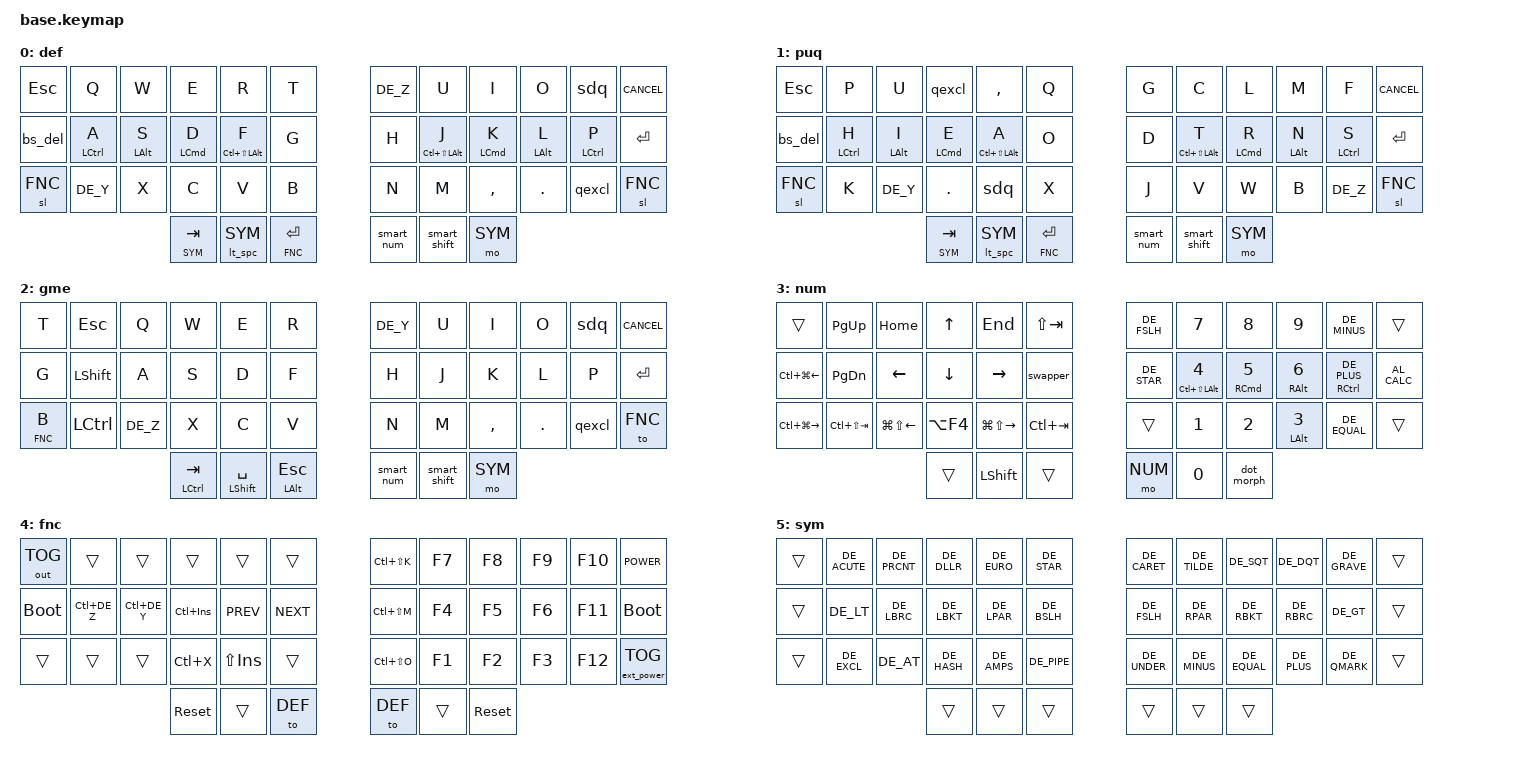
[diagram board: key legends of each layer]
#include <behaviors.dtsi>
#include <dt-bindings/zmk/keys.h>

/* layer and key shortcuts */

// Layers
#define DEF 0
#define PUQ 1
#define GME 2
#define NUM 3
#define FNC 4
#define SYM 5

#define XXX &none
#define ___ &trans

// Meh key
#define MEH             LC(LS(LALT)) 

// Desktop and tab navigation shortcuts
#define D_LT            LC(LG(LEFT))
#define D_RT            LC(LG(RIGHT))
#define TAB_RT          LC(TAB)
#define TAB_LT          LC(LS(TAB))
#define MOV_W_LT        LG(LS(LEFT))
#define MOV_W_RT        LG(LS(RIGHT))
#define TEAMS_HR        LC(LS(K))
#define TEAMS_TV        LC(LS(O))
#define TEAMS_TA        LC(LS(M))
#define WIN_PREV        LS(TAB)

/* Global settings */

#define QUICK_TAP_MS 175

&sk {  // sticky-key config
    release-after-ms = <900>;  // release after 0.6s
    quick-release;             // no double capitalization when rolling keys
};

&sl {  // sticky-layer config
    ignore-modifiers;          // allow chording sticky mods & layers
};

&lt {  // layer-tap config
    flavor = "balanced";
    tapping-term-ms = <200>;
    quick-tap-ms = <QUICK_TAP_MS>;
};

/* Homerow mods */
#define KEYS_L LT0 LT1 LT2 LT3 LT4 LT5 LM0 LM1 LM2 LM3 LM4 LM5 LB0 LB1 LB2 LB3 LB4 LB5  // left hand
#define KEYS_R RT0 RT1 RT2 RT3 RT4 RT5 RM0 RM1 RM2 RM3 RM4 RM5 RB0 RB1 RB2 RB3 RB4 RB5  // right hand
#define THUMBS LH2 LH1 LH0 RH0 RH1 RH2                                                  // thumbs

#define MAKE_HRM(NAME, HOLD, TAP, TRIGGER_POS) \
    ZMK_BEHAVIOR(NAME, hold_tap, \
        flavor = "balanced"; \
        tapping-term-ms = <280>; \
        quick-tap-ms = <QUICK_TAP_MS>; \
        require-prior-idle-ms = <150>; \
        bindings = <HOLD>, <TAP>; \
        hold-trigger-key-positions = <TRIGGER_POS>; \
        hold-trigger-on-release; \
    )
MAKE_HRM(hml, &kp, &kp, KEYS_R THUMBS)  // left-hand HRMs
MAKE_HRM(hmr, &kp, &kp, KEYS_L THUMBS)  // right-hand HRMs

MAKE_HRM(hml_repeat, &kp, &key_repeat, KEYS_R THUMBS)  // used for HRM-combo
MAKE_HRM(hmr_lpar_lt, &kp, &lpar_lt, KEYS_L THUMBS)    // "    "   "   "
MAKE_HRM(hmr_rpar_gt, &kp, &rpar_gt, KEYS_L THUMBS)    // "    "   "   "

/* Nav cluster */

// long-tap action on hold, short-tap action on all interrupts
#define MT_CORE \
    flavor = "tap-preferred"; \
    tapping-term-ms = <220>; \
    quick-tap-ms = <220>; \
    hold-trigger-key-positions = <0>;

&mt { MT_CORE };
ZMK_BEHAVIOR(mt_home, hold_tap, bindings = <&masked_home>, <&kp>; MT_CORE)
ZMK_BEHAVIOR(mt_end,  hold_tap,  bindings = <&masked_end>, <&kp>; MT_CORE)

#define NAV_LEFT  &mt_home 0   LEFT    // tap: left  | long-tap: beginning of line
#define NAV_RIGHT &mt_end 0    RIGHT   // tap: right | long-tap: end       of line
#define NAV_UP    &mt LC(HOME) UP      // tap: up    | long-tap: beginning of document
#define NAV_DOWN  &mt LC(END)  DOWN    // tap: down  | long-tap: end       of document
#define NAV_BSPC  &mt LC(BSPC) BSPC    // tap: bspc  | long-tap: delete word backward
#define NAV_DEL   &mt LC(DEL)  DEL     // tap: del   | long-tap: delete word forward

// mask CTRL when holding left/right to avoid accidental jumps to beginning/end of document
#define MASK_MODS(NAME, MODS, BINDING) \
    ZMK_BEHAVIOR(NAME, mod_morph, \
        bindings = <BINDING>, <BINDING>; \
        mods = <MODS>; \
    )
MASK_MODS(masked_home, (MOD_LCTL), &kp HOME)
MASK_MODS(masked_end,  (MOD_LCTL), &kp END)

/* Caps-word, num-word and smart-mouse */

// tap: sticky-shift | shift + tap/ double-tap: caps-word | hold: shift
ZMK_BEHAVIOR(smart_shift, mod_morph,
    bindings = <&sk LSHFT>, <&caps_word>;
    mods = <(MOD_LSFT)>;
)
&caps_word {  // mods deactivate caps-word, requires PR #1451
    /delete-property/ ignore-modifiers;
};

// tap: num-word | double-tap: sticky num-layer | hold: num-layer
#define SMART_NUM &smart_num NUM 0
ZMK_BEHAVIOR(smart_num, hold_tap,
    flavor = "balanced";
    tapping-term-ms = <200>;
    quick-tap-ms = <QUICK_TAP_MS>;
    bindings = <&mo>, <&num_dance>;
)
ZMK_BEHAVIOR(num_dance, tap_dance,
    tapping-term-ms = <200>;
    bindings = <&num_word>, <&sl NUM>;  // reverse this for sticky-num on single tap
)
&num_word {  // num-word, requires PR #1451
    layers = <NUM>;
    continue-list = <BSPC DEL DOT COMMA PLUS MINUS STAR FSLH EQUAL>;
};
/*
// smart-mouse, requires PR #1366
ZMK_BEHAVIOR(smart_mouse, tri_state,
    bindings = <&tog MOUSE>, <&none>, <&tog MOUSE>;
    ignored-key-positions = <LT1 LT3 RT1 RT2 RT3 RM1 RM2 RM3 RH0 RH1>;
    ignored-layers = <MOUSE>;
)
*/

/* Custom behaviors */

// Alt+Tab swapper, requires PR #1366
ZMK_BEHAVIOR(swapper, tri_state,
    bindings = <&kt LALT>, <&kp TAB>, <&kt LALT>;
    ignored-key-positions = <LT2>;
)
/*
// Sticky layer + sticky shift (workaround for issue #1421)
ZMK_BEHAVIOR(sls, sticky_key,
    release-after-ms = <1000>;
    bindings = <&uc_shift>;
    ignore-modifiers;
)

ZMK_BEHAVIOR(uc_shift, macro,
    wait-ms = <0>;
    tap-ms = <1>;
    bindings = <&macro_press &mo UC &kp LSHFT>
             , <&macro_pause_for_release>
             , <&macro_release &mo UC &kp LSHFT>;
)
*/
// tap: comma | shift + tap: semicolon | ctrl + shift + tap: <
ZMK_BEHAVIOR(comma_morph, mod_morph,
    mods = <(MOD_LSFT|MOD_RSFT)>;
    bindings = <&kp COMMA>, <&comma_inner_morph>;
)
ZMK_BEHAVIOR(comma_inner_morph, mod_morph,
    bindings = <&kp SEMICOLON>, <&kp LESS_THAN>;
    mods = <(MOD_LCTL|MOD_RCTL)>;
)

// tap: dot | shift + tap: colon | ctrl + shift + tap: >
ZMK_BEHAVIOR(dot_morph, mod_morph,
    bindings = <&kp DOT>, <&dot_inner_morph>;
    mods = <(MOD_LSFT|MOD_RSFT)>;
)
ZMK_BEHAVIOR(dot_inner_morph, mod_morph,
    bindings = <&kp COLON>, <&kp GREATER_THAN>;
    mods = <(MOD_LCTL|MOD_RCTL)>;
)

// tap: qmark | shift + tap: excl
ZMK_BEHAVIOR(qexcl, mod_morph,
    bindings = <&kp QMARK>, <&kp EXCL>;
    mods = <(MOD_LSFT|MOD_RSFT)>;
)

// tap: sqt | shift + tap: dqt
ZMK_BEHAVIOR(sdq, mod_morph,
    bindings = <&kp SQT>, <&kp DQT>;
    mods = <(MOD_LSFT|MOD_RSFT)>;
)

// tap: space | shift + tap: dot -> space -> sticky shift | hold: activate layer
ZMK_BEHAVIOR(lt_spc, hold_tap,
    flavor = "balanced";
    tapping-term-ms = <200>;
    quick-tap-ms = <QUICK_TAP_MS>;
    bindings = <&mo>, <&spc_morph>;
)
ZMK_BEHAVIOR(spc_morph, mod_morph,
    bindings = <&kp SPACE>, <&dot_spc>;
    mods = <(MOD_LSFT|MOD_RSFT)>;
)
ZMK_BEHAVIOR(dot_spc, macro,
    wait-ms = <0>;
    tap-ms = <5>;
    bindings = <&kp DOT &kp SPACE &sk LSHFT>;
)

// tap: backspace | lshft + tap: delete | rshft + tap: shift-delete
ZMK_BEHAVIOR(bs_del, mod_morph,
    bindings = <&kp BSPC>, <&kp DEL>;
    mods = <(MOD_LSFT|MOD_RSFT)>;
    keep-mods = <MOD_RSFT>;
)

// tap: left-parenthesis | shft + tap: less-than
ZMK_BEHAVIOR(lpar_lt, mod_morph,
    bindings = <&kp LPAR>, <&kp LT>;
    mods = <(MOD_LSFT|MOD_RSFT)>;
)

// tap: right-parenthesis | shft + tap: greater-than
ZMK_BEHAVIOR(rpar_gt, mod_morph,
    bindings = <&kp RPAR>, <&kp GT>;
    mods = <(MOD_LSFT|MOD_RSFT)>;
)

// tap: copy | double-tap: cut
ZMK_BEHAVIOR(copy_cut, tap_dance,
    tapping-term-ms = <200>;
    bindings = <&kp LC(INS)>, <&kp LC(X)>;
)

// Windows sleep key
ZMK_BEHAVIOR(win_sleep, macro,
    wait-ms = <500>;
    tap-ms = <50>;
    bindings = <&kp LG(X) &kp U &kp S>;
)

// misc aliases
#define CANCEL      &kp K_CANCEL             // cancel caps-word, num-word and smart-mouse
#define DSK_PREV    &hmr RSHFT LG(LC(LEFT))  // previous desktop
#define DSK_NEXT    &hmr LALT LG(LC(RIGHT))  // next     desktop
#define PIN_WIN     &kp LG(LC(LS(Q)))        // pin window across desktops
#define PIN_APP     &kp LG(LC(LS(A)))        // pin application across desktops
#define DSK_MGR     &kp LA(GRAVE)            // desktop manager
#define VOL_DOWN    &hmr LCTRL C_VOL_DN

//ZMK_CONDITIONAL_LAYER(FNC NUM, SYM)  // FNC + NUM --> SYS

// combos
#undef COMBO_TERM
#define COMBO_TERM 40  // timeout of 40ms (default is 30ms if omitted)
//ZMK_COMBO(combo_sleep,  &win_sleep, RT3 RT4, DEF)  // custom sleep macro, only active on NAV layer
//ZMK_COMBO(combo_copy,   &kp LC(C),  LB2 LB3, ALL)  // Ctrl + C, active on all layers
//ZMK_COMBO(combo_paste,  &kp LC(V),  LB1 LB2, ALL)  // Ctrl + V, active on all layers

/* keymap */

ZMK_LAYER(def,
// ╭───────────────┬───────────────┬───────────────┬───────────────┬───────────────┬───────────────╮   ╭───────────────┬───────────────┬───────────────┬───────────────┬───────────────┬───────────────╮
    &kp ESC         &kp Q           &kp W           &kp E           &kp R           &kp T               &kp DE_Z        &kp U           &kp I           &kp O           &sdq            &kp K_CANCEL
// ├───────────────├───────────────┼───────────────┼───────────────┼───────────────┼───────────────┤   ├───────────────├───────────────┼───────────────┼───────────────┼───────────────┼───────────────┤
    &bs_del         &hml LCTRL A    &hml LALT S     &hml LCMD D     &hml LC(LS(LALT)) F  &kp G          &kp H           &hmr LC(LS(LALT)) J  &hmr LCMD K  &hmr LALT L   &hmr LCTRL P    &kp ENTER
// ├───────────────├───────────────┼───────────────┼───────────────┼───────────────┼───────────────┤   ├───────────────├───────────────┼───────────────┼───────────────┼───────────────┼───────────────┤
    &sl FNC         &kp DE_Y        &kp X           &kp C           &kp V           &kp B               &kp N           &kp M           &kp COMMA       &kp DOT         &qexcl          &sl FNC
// ╰───────────────┴───────────────┴───────────────┼───────────────┼───────────────┼───────────────┤   ├───────────────├───────────────┼───────────────┼───────────────┴───────────────┴───────────────╯
                                                    &hml SYM TAB    &lt_spc SYM    &lt FNC RET          &smart_num      &smart_shift    &mo SYM
//                                                 ╰───────────────┴───────────────┴───────────────╯   ╰───────────────┴───────────────┴───────────────╯
)

ZMK_LAYER(puq,
// ╭───────────────┬───────────────┬───────────────┬───────────────┬───────────────┬───────────────╮   ╭───────────────┬───────────────┬───────────────┬───────────────┬───────────────┬───────────────╮
    &kp ESC         &kp P           &kp U           &qexcl          &kp COMMA       &kp Q               &kp G           &kp C           &kp L           &kp M           &kp F           &kp K_CANCEL
// ├───────────────├───────────────┼───────────────┼───────────────┼───────────────┼───────────────┤   ├───────────────├───────────────┼───────────────┼───────────────┼───────────────┼───────────────┤
    &bs_del         &hml LCTRL H    &hml LALT I     &hml LCMD E     &hml MEH A      &kp O               &kp D           &hmr MEH T      &hmr LCMD R     &hmr LALT N     &hmr LCTRL S    &kp ENTER
// ├───────────────├───────────────┼───────────────┼───────────────┼───────────────┼───────────────┤   ├───────────────├───────────────┼───────────────┼───────────────┼───────────────┼───────────────┤
    &sl FNC         &kp K           &kp DE_Y        &kp DOT         &sdq            &kp X               &kp J           &kp V           &kp W           &kp B           &kp DE_Z        &sl FNC
// ╰───────────────┴───────────────┴───────────────┼───────────────┼───────────────┼───────────────┤   ├───────────────├───────────────┼───────────────┼───────────────┴───────────────┴───────────────╯
                                                    &hml SYM TAB    &lt_spc SYM    &lt FNC RET          &smart_num      &smart_shift    &mo SYM
//                                                 ╰───────────────┴───────────────┴───────────────╯   ╰───────────────┴───────────────┴───────────────╯
)

ZMK_LAYER(gme,
// ╭───────────────┬───────────────┬───────────────┬───────────────┬───────────────┬───────────────╮   ╭───────────────┬───────────────┬───────────────┬───────────────┬───────────────┬───────────────╮
    &kp T           &kp ESC         &kp Q           &kp W           &kp E           &kp R               &kp DE_Y        &kp U           &kp I           &kp O           &sdq            &kp K_CANCEL
// ├───────────────├───────────────┼───────────────┼───────────────┼───────────────┼───────────────┤   ├───────────────├───────────────┼───────────────┼───────────────┼───────────────┼───────────────┤
    &kp G           &kp LSHFT       &kp A           &kp S           &kp D           &kp F               &kp H           &kp J           &kp K           &kp L           &kp P           &kp ENTER
// ├───────────────├───────────────┼───────────────┼───────────────┼───────────────┼───────────────┤   ├───────────────├───────────────┼───────────────┼───────────────┼───────────────┼───────────────┤
    &lt FNC B       &kp LCTRL       &kp DE_Z        &kp X           &kp C           &kp V               &kp N           &kp M           &kp COMMA       &kp DOT         &qexcl          &to FNC
// ╰───────────────┴───────────────┴───────────────┼───────────────┼───────────────┼───────────────┤   ├───────────────├───────────────┼───────────────┼───────────────┴───────────────┴───────────────╯
                                                    &mt LCTRL TAB   &mt LSHFT SPACE &mt LALT ESC        &smart_num      &smart_shift    &mo SYM
//                                                 ╰───────────────┴───────────────┴───────────────╯   ╰───────────────┴───────────────┴───────────────╯
)

ZMK_LAYER(num,
// ╭───────────────┬───────────────┬───────────────┬───────────────┬───────────────┬───────────────╮   ╭───────────────┬───────────────┬───────────────┬───────────────┬───────────────┬───────────────╮
    ___             &kp PG_UP       &kp HOME        &kp UP          &kp END         &kp WIN_PREV        &kp DE_FSLH     &kp N7          &kp N8          &kp N9          &kp DE_MINUS    ___   
// ├───────────────├───────────────┼───────────────┼───────────────┼───────────────┼───────────────┤   ├───────────────├───────────────┼───────────────┼───────────────┼───────────────┼───────────────┤
    &kp D_LT        &kp PG_DN       &kp LEFT        &kp DOWN        &kp RIGHT       &swapper            &kp DE_STAR     &mt MEH N4      &mt RCMD N5     &mt RALT N6     &mt RCTRL DE_PLUS &kp C_AL_CALC 
// ├───────────────├───────────────┼───────────────┼───────────────┼───────────────┼───────────────┤   ├───────────────├───────────────┼───────────────┼───────────────┼───────────────┼───────────────┤
    &kp D_RT        &kp TAB_LT      &kp MOV_W_LT    &kp LA(F4)      &kp MOV_W_RT    &kp TAB_RT          ___             &kp N1          &kp N2          &mt LALT N3     &kp DE_EQUAL    ___   
// ╰───────────────┴───────────────┴───────────────┼───────────────┼───────────────┼───────────────┤   ├───────────────├───────────────┼───────────────┼───────────────┴───────────────┴───────────────╯
                                                    ___             &kp LSHFT       ___                 &mo NUM         &kp N0          &dot_morph
//                                                 ╰───────────────┴───────────────┴───────────────╯   ╰───────────────┴───────────────┴───────────────╯
)

ZMK_LAYER(fnc,
// ╭───────────────┬───────────────┬───────────────┬───────────────┬───────────────┬───────────────╮   ╭───────────────┬───────────────┬───────────────┬───────────────┬───────────────┬───────────────╮
    &out OUT_TOG    ___             ___             ___             ___             ___                 &kp TEAMS_HR    &kp F7          &kp F8          &kp F9          &kp F10         &kp C_POWER
// ├───────────────├───────────────┼───────────────┼───────────────┼───────────────┼───────────────┤   ├───────────────├───────────────┼───────────────┼───────────────┼───────────────┼───────────────┤
    &bootloader     &kp LC(DE_Z)    &kp LC(DE_Y)    &kp LC(INS)     &kp C_PREV      &kp C_NEXT          &kp TEAMS_TA    &kp F4          &kp F5          &kp F6          &kp F11         &bootloader
// ├───────────────├───────────────┼───────────────┼───────────────┼───────────────┼───────────────┤   ├───────────────├───────────────┼───────────────┼───────────────┼───────────────┼───────────────┤
    ___             ___             ___             &kp LC(X)       &kp LS(INS)     ___                 &kp TEAMS_TV    &kp F1          &kp F2          &kp F3          &kp F12         &ext_power EP_TOG
// ╰───────────────┴───────────────┴───────────────┼───────────────┼───────────────┼───────────────┤   ├───────────────├───────────────┼───────────────┼───────────────┴───────────────┴───────────────╯
                                                    &sys_reset      ___             &to DEF             &to DEF         ___             &sys_reset     
//                                                 ╰───────────────┴───────────────┴───────────────╯   ╰───────────────┴───────────────┴───────────────╯
)

ZMK_LAYER(sym,
// ╭───────────────┬───────────────┬───────────────┬───────────────┬───────────────┬───────────────╮   ╭───────────────┬───────────────┬───────────────┬───────────────┬───────────────┬───────────────╮
    ___             &kp DE_ACUTE    &kp DE_PRCNT    &kp DE_DLLR     &kp DE_EURO     &kp DE_STAR         &kp DE_CARET    &kp DE_TILDE    &kp DE_SQT      &kp DE_DQT      &kp DE_GRAVE    ___   
// ├───────────────├───────────────┼───────────────┼───────────────┼───────────────┼───────────────┤   ├───────────────├───────────────┼───────────────┼───────────────┼───────────────┼───────────────┤
    ___             &kp DE_LT       &kp DE_LBRC     &kp DE_LBKT     &kp DE_LPAR     &kp DE_BSLH         &kp DE_FSLH     &kp DE_RPAR     &kp DE_RBKT     &kp DE_RBRC     &kp DE_GT       ___   
// ├───────────────├───────────────┼───────────────┼───────────────┼───────────────┼───────────────┤   ├───────────────├───────────────┼───────────────┼───────────────┼───────────────┼───────────────┤
    ___             &kp DE_EXCL     &kp DE_AT       &kp DE_HASH     &kp DE_AMPS     &kp DE_PIPE         &kp DE_UNDER    &kp DE_MINUS    &kp DE_EQUAL    &kp DE_PLUS     &kp DE_QMARK    ___   
// ╰───────────────┴───────────────┴───────────────┼───────────────┼───────────────┼───────────────┤   ├───────────────├───────────────┼───────────────┼───────────────┴───────────────┴───────────────╯
                                                    ___             ___             ___                 ___             ___             ___   
//                                                 ╰───────────────┴───────────────┴───────────────╯   ╰───────────────┴───────────────┴───────────────╯
)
